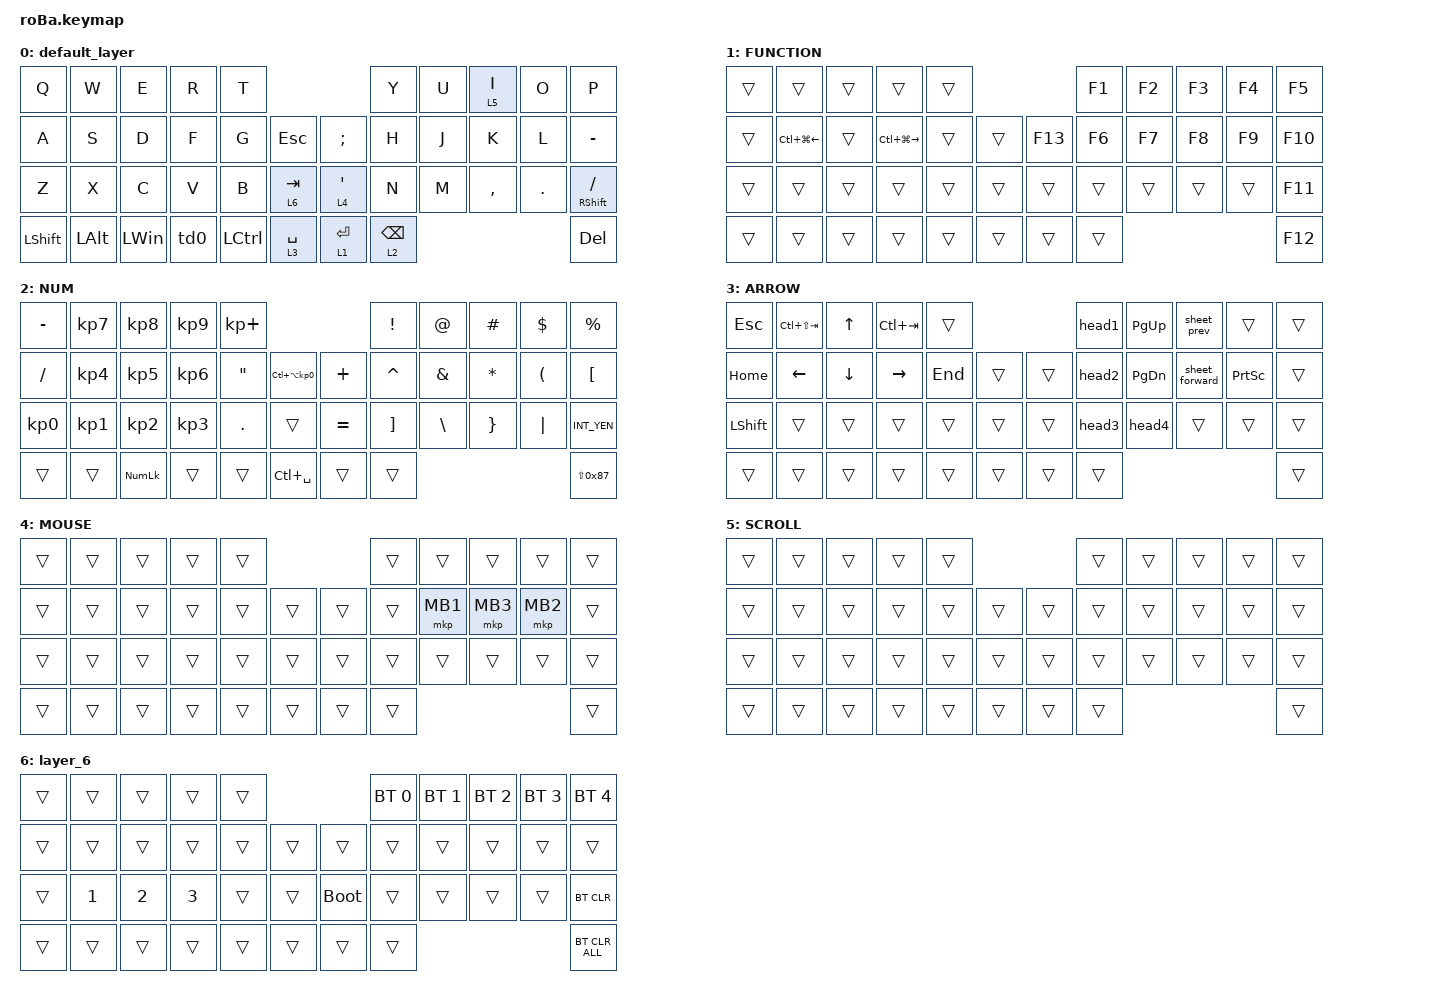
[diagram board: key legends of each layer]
#include <dt-bindings/zmk/input_transform.h>
#include <input/processors.dtsi>
#include <behaviors.dtsi>
#include <dt-bindings/zmk/bt.h>
#include <dt-bindings/zmk/keys.h>
#include <dt-bindings/zmk/pointing.h>

// OS設定を日本語キーボードのまま使用するための変換定義

#define JP_DQUOTE       AT                // "
#define JP_AMPERSAND    CARET             // &
#define JP_QUOTE        AMPERSAND         // '
#define JP_EQUAL        UNDER             // =
#define JP_CARET        EQUAL             // ^
#define JP_YEN          0x89              // ¥
#define JP_PLUS         COLON             // +
#define JP_TILDE        PLUS              // ~
#define JP_PIPE         LS(0x89)          // |
#define JP_AT           LEFT_BRACKET      // @
#define JP_COLON        SINGLE_QUOTE      // :
#define JP_ASTERISK     DOUBLE_QUOTES     // *
#define JP_BACKQUOTE    LEFT_BRACE        // `
#define JP_UNDERSCORE   LS(0x87)          // _
#define JP_LBRACKET     RIGHT_BRACKET     // [
#define JP_RBRACKET     BACKSLASH         // ]
#define JP_LPAREN       ASTERISK          // (
#define JP_RPAREN       LEFT_PARENTHESIS  // )
#define JP_LBRACE       RIGHT_BRACE       // {
#define JP_RBRACE       PIPE              // }
#define JP_KANA         LANGUAGE_1        // かな
#define JP_EISU         LANGUAGE_2        // 英数
#define JP_HANZEN       GRAVE             // 半角/全角

&mt {
    flavor = "balanced";
    quick-tap-ms = <0>;
};

&lt { quick-tap-ms = <250>; };

&zip_temp_layer {
    excluded-positions = <18 19 20>;
    require-prior-idle-ms = <200>;
};

&trackball_listener {
    input-processors = <&zip_temp_layer 4 1000>;

    scroller {
        layers = <5>;
        input-processors =
            <&zip_xy_to_scroll_mapper>,
            <&zip_scroll_scaler 1 12>,
            <&zip_scroll_transform INPUT_TRANSFORM_Y_INVERT>;
    };
};

&mkp_input_listener { input-processors = <&zip_temp_layer 4 500>; };

&kscan0 {
    debounce-press-ms = <0>;     // 押した瞬間に送信（遅延0ms）
    debounce-release-ms = <3>;   // 離したときはチャタリング防止のため5ms待つ（ここはお好みで1〜3msに詰めてもOK）
};

/ {
    combos {
        compatible = "zmk,combos";

        tab {
            bindings = <&kp TAB>;
            key-positions = <11 12>;
        };

        shift_tab {
            bindings = <&kp LS(TAB)>;
            key-positions = <12 13>;
        };

        muhennkann {
            bindings = <&to_layer_0 INT_MUHENKAN>;
            key-positions = <11 10>;
            timeout-ms = <30>;
        };

        eq {
            bindings = <&kp UNDER>;
            key-positions = <24 25>;
        };

        henkan {
            bindings = <&kp INTERNATIONAL_4>;
            key-positions = <20 21>;
        };

        colon {
            bindings = <&kp SINGLE_QUOTE>;
            key-positions = <18 19>;
        };

        semicolon {
            bindings = <&kp SEMI>;
            key-positions = <19 20>;
        };

        esc {
            bindings = <&kp ESCAPE>;
            key-positions = <0 1>;
        };

        left-click {
            bindings = <&mkp LCLK>;
            key-positions = <30 31>;
        };

        right-click {
            bindings = <&mkp RCLK>;
            key-positions = <31 32>;
        };
    };

    macros {
        to_layer_0: to_layer_0 {
            compatible = "zmk,behavior-macro-one-param";
            #binding-cells = <1>;
            bindings = <&to 0 &macro_param_1to1 &kp MACRO_PLACEHOLDER>;
            label = "TO_LAYER_0";
        };

        sheet_prev: sheet_prev {
            compatible = "zmk,behavior-macro";
            #binding-cells = <0>;
            bindings =
                <&macro_press>,
                <&kp LALT>,
                <&macro_tap>,
                <&kp UP>,
                <&macro_pause_for_release>,
                <&macro_release>,
                <&kp LALT>;
        };

        sheet_forward: sheet_forward {
            compatible = "zmk,behavior-macro";
            #binding-cells = <0>;
            bindings =
                <&macro_press>,
                <&kp LALT>,
                <&macro_tap>,
                <&kp DOWN>,
                <&macro_pause_for_release>,
                <&macro_release>,
                <&kp LALT>;
        };

        head1: head1 {
            compatible = "zmk,behavior-macro";
            #binding-cells = <0>;
            bindings =
                <&macro_press>,
                <&kp LCTRL &kp LEFT_ALT>,
                <&macro_tap>,
                <&kp NUMBER_1>,
                <&macro_pause_for_release>,
                <&macro_release>,
                <&kp LALT &kp LCTRL>;

            label = "HEAD1";
        };

        head2: head2 {
            compatible = "zmk,behavior-macro";
            #binding-cells = <0>;
            bindings =
                <&macro_press>,
                <&kp LCTRL &kp LEFT_ALT>,
                <&macro_tap>,
                <&kp NUMBER_2>,
                <&macro_pause_for_release>,
                <&macro_release>,
                <&kp LALT &kp LCTRL>;

            label = "HEAD2";
        };

        head3: head3 {
            compatible = "zmk,behavior-macro";
            #binding-cells = <0>;
            bindings =
                <&macro_press>,
                <&kp LCTRL &kp LEFT_ALT>,
                <&macro_tap>,
                <&kp NUMBER_3>,
                <&macro_pause_for_release>,
                <&macro_release>,
                <&kp LALT &kp LCTRL>;

            label = "HEAD3";
        };

        head4: head4 {
            compatible = "zmk,behavior-macro";
            #binding-cells = <0>;
            bindings =
                <&macro_press>,
                <&kp LCTRL &kp LEFT_ALT>,
                <&macro_tap>,
                <&kp NUMBER_4>,
                <&macro_pause_for_release>,
                <&macro_release>,
                <&kp LALT &kp LCTRL>;

            label = "HEAD4";
        };
    };

    behaviors {
        lt_to_layer_0: lt_to_layer_0 {
            compatible = "zmk,behavior-hold-tap";
            label = "LAYER_TAP_TO_0";
            bindings = <&mo>, <&to_layer_0>;

            #binding-cells = <2>;
            tapping-term-ms = <200>;
        };

        lt_num: lt_num {
            compatible = "zmk,behavior-hold-tap";
            label = "LAYER_TAP_NUM";
            bindings = <&mo>, <&kp>;

            #binding-cells = <2>;
            flavor = "hold-preferred";
            tapping-term-ms = <200>;
            quick-tap-ms = <0>;
        };

        td0: td0 {
            compatible = "zmk,behavior-tap-dance";
            label = "TD0";
            #binding-cells = <0>;
            bindings = <&kp INT_MUHENKAN>, <&kp INT_HENKAN>, <&mo 2>;
        };
    };

    keymap {
        compatible = "zmk,keymap";

        default_layer {
            bindings = <
&kp Q           &kp W         &kp E         &kp R  &kp T                                                    &kp Y            &kp U  &lt 5 I    &kp O    &kp P
&kp A           &kp S         &kp D         &kp F  &kp G      &kp ESCAPE                &kp SEMICOLON       &kp H            &kp J  &kp K      &kp L    &kp MINUS
&kp Z           &kp X         &kp C         &kp V  &kp B      &lt_to_layer_0 6 TAB      &lt 4 SINGLE_QUOTE  &kp N            &kp M  &kp COMMA  &kp DOT  &mt RIGHT_SHIFT SLASH
&kp LEFT_SHIFT  &kp LEFT_ALT  &kp LEFT_WIN  &td0   &kp LCTRL  &lt 3 SPACE               &lt 1 ENTER         &lt_num 2 BACKSPACE                             &kp DEL
            >;
        };

        FUNCTION {
            bindings = <
&trans  &trans                   &trans  &trans                    &trans                       &kp F1  &kp F2  &kp F3  &kp F4  &kp F5
&trans  &kp LC(LG(LEFT_ARROW))   &trans  &kp LC(LG(RIGHT_ARROW))  &trans  &trans      &kp F13  &kp F6  &kp F7  &kp F8  &kp F9  &kp F10
&trans  &trans  &trans  &trans  &trans  &trans      &trans   &trans  &trans  &trans  &trans  &kp F11
&trans  &trans  &trans  &trans  &trans  &trans      &trans   &trans                          &kp F12
            >;
        };

        NUM {
            bindings = <
&kp MINUS        &kp KP_NUMBER_7  &kp KP_NUMBER_8  &kp KP_NUMBER_9  &kp KP_PLUS                                                   &kp EXCL           &kp AT         &kp HASH         &kp DOLLAR            &kp PERCENT
&kp SLASH        &kp KP_NUMBER_4  &kp KP_NUMBER_5  &kp KP_NUMBER_6  &kp DOUBLE_QUOTES  &kp LC(LA(KP_NUMBER_0))      &kp JP_TILDE  &kp CARET          &kp AMPS       &kp ASTRK        &kp LEFT_PARENTHESIS  &kp LEFT_BRACKET
&kp KP_NUMBER_0  &kp KP_NUMBER_1  &kp KP_NUMBER_2  &kp KP_NUMBER_3  &kp PERIOD         &trans                       &kp JP_CARET  &kp RIGHT_BRACKET  &kp BACKSLASH  &kp RIGHT_BRACE  &kp PIPE              &kp INT_YEN
&trans           &trans           &kp KP_NUMLOCK   &trans           &trans             &kp LC(SPACE)                &trans        &trans                                                                   &kp JP_UNDERSCORE
            >;
        };

        ARROW {
            bindings = <
&kp ESCAPE      &kp LC(LS(TAB))  &kp UP_ARROW    &kp LC(TAB)      &trans                       &head1  &kp PAGE_UP    &sheet_prev     &trans           &trans
&kp HOME        &kp LEFT_ARROW   &kp DOWN_ARROW  &kp RIGHT_ARROW  &kp END  &trans      &trans  &head2  &kp PAGE_DOWN  &sheet_forward  &kp PRINTSCREEN  &trans
&kp LEFT_SHIFT  &trans           &trans          &trans           &trans   &trans      &trans  &head3  &head4         &trans          &trans           &trans
&trans          &trans           &trans          &trans           &trans   &trans      &trans  &trans                                                  &trans
            >;
        };

        MOUSE {
            bindings = <
&trans  &trans  &trans  &trans  &trans                      &trans  &trans    &trans    &trans    &trans
&trans  &trans  &trans  &trans  &trans  &trans      &trans  &trans  &mkp MB1  &mkp MB3  &mkp MB2  &trans
&trans  &trans  &trans  &trans  &trans  &trans      &trans  &trans  &trans    &trans    &trans    &trans
&trans  &trans  &trans  &trans  &trans  &trans      &trans  &trans                                &trans
            >;
        };

        SCROLL {
            bindings = <
&trans  &trans  &trans  &trans  &trans                      &trans  &trans  &trans  &trans  &trans
&trans  &trans  &trans  &trans  &trans  &trans      &trans  &trans  &trans  &trans  &trans  &trans
&trans  &trans  &trans  &trans  &trans  &trans      &trans  &trans  &trans  &trans  &trans  &trans
&trans  &trans  &trans  &trans  &trans  &trans      &trans  &trans                          &trans
            >;
        };

        layer_6 {
            bindings = <
&trans  &trans        &trans        &trans        &trans                           &bt BT_SEL 0  &bt BT_SEL 1  &bt BT_SEL 2  &bt BT_SEL 3  &bt BT_SEL 4
&trans  &trans        &trans        &trans        &trans  &trans      &trans       &trans        &trans        &trans        &trans        &trans
&trans  &kp NUMBER_1  &kp NUMBER_2  &kp NUMBER_3  &trans  &trans      &bootloader  &trans        &trans        &trans        &trans        &bt BT_CLR
&trans  &trans        &trans        &trans        &trans  &trans      &trans       &trans                                                  &bt BT_CLR_ALL
            >;
        };
    };
};
